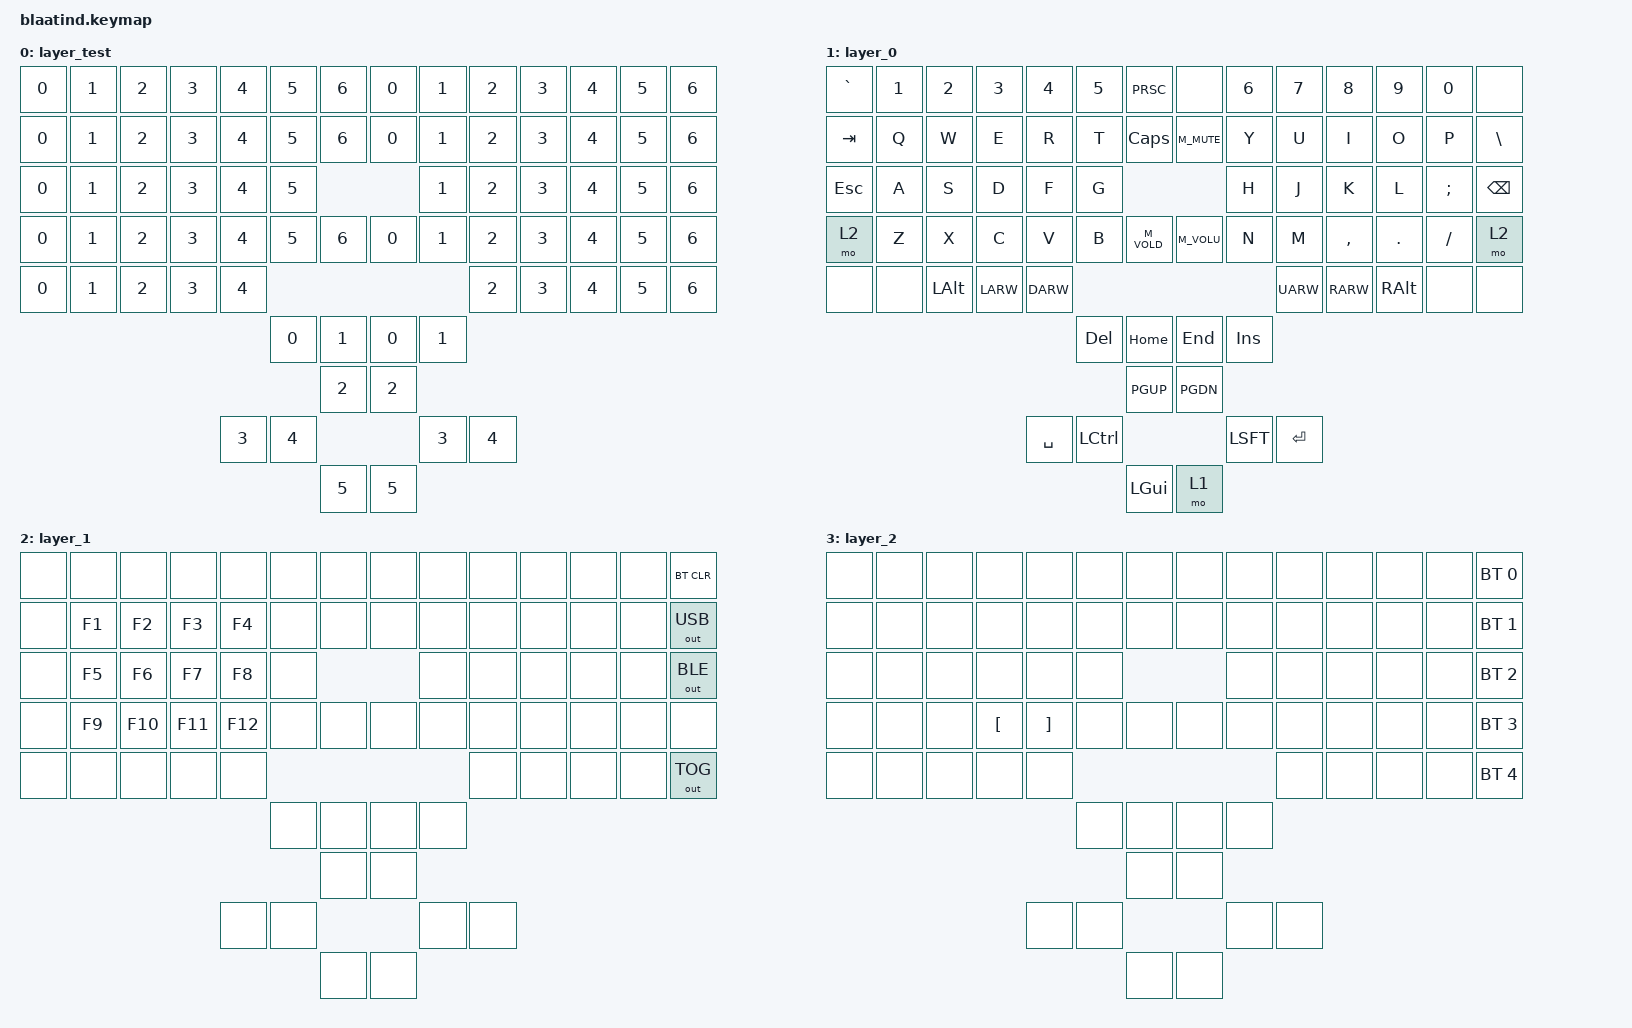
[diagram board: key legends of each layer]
#include <behaviors.dtsi>
#include <dt-bindings/zmk/bt.h>
#include <dt-bindings/zmk/keys.h>
#include <dt-bindings/zmk/outputs.h>

/ {
        keymap {
                compatible = "zmk,keymap";

                // This is the default test layer meant for testing that every
                // key on your keyboard works. Once you have completed this
                // basic test, you can delete this first section and layer_0
                // will become your default layer.
                layer_test {
                        bindings = <
    &kp NUM_0  &kp NUM_1  &kp NUM_2  &kp NUM_3  &kp NUM_4  &kp NUM_5  &kp NUM_6  &kp NUM_0  &kp NUM_1  &kp NUM_2  &kp NUM_3  &kp NUM_4  &kp NUM_5  &kp NUM_6
    &kp NUM_0  &kp NUM_1  &kp NUM_2  &kp NUM_3  &kp NUM_4  &kp NUM_5  &kp NUM_6  &kp NUM_0  &kp NUM_1  &kp NUM_2  &kp NUM_3  &kp NUM_4  &kp NUM_5  &kp NUM_6
    &kp NUM_0  &kp NUM_1  &kp NUM_2  &kp NUM_3  &kp NUM_4  &kp NUM_5                        &kp NUM_1  &kp NUM_2  &kp NUM_3  &kp NUM_4  &kp NUM_5  &kp NUM_6
    &kp NUM_0  &kp NUM_1  &kp NUM_2  &kp NUM_3  &kp NUM_4  &kp NUM_5  &kp NUM_6  &kp NUM_0  &kp NUM_1  &kp NUM_2  &kp NUM_3  &kp NUM_4  &kp NUM_5  &kp NUM_6
    &kp NUM_0  &kp NUM_1  &kp NUM_2  &kp NUM_3  &kp NUM_4                                              &kp NUM_2  &kp NUM_3  &kp NUM_4  &kp NUM_5  &kp NUM_6
                                                           &kp NUM_0  &kp NUM_1  &kp NUM_0  &kp NUM_1
                                                                      &kp NUM_2  &kp NUM_2
                                                &kp NUM_3  &kp NUM_4                        &kp NUM_3  &kp NUM_4
                                                                      &kp NUM_5  &kp NUM_5
                        >;
                };

                layer_0 {
                        bindings = <
    &kp GRAV   &kp NUM_1  &kp NUM_2  &kp NUM_3  &kp NUM_4  &kp NUM_5  &kp PRSC   &none      &kp NUM_6  &kp NUM_7  &kp NUM_8  &kp NUM_9  &kp NUM_0  &none
    &kp TAB    &kp Q      &kp W      &kp E      &kp R      &kp T      &kp CLCK   &kp M_MUTE &kp Y      &kp U      &kp I      &kp O      &kp P      &kp BSLH
    &kp ESC    &kp A      &kp S      &kp D      &kp F      &kp G                            &kp H      &kp J      &kp K      &kp L      &kp SCLN   &kp BKSP
    &mo 2      &kp Z      &kp X      &kp C      &kp V      &kp B      &kp M_VOLD &kp M_VOLU &kp N      &kp M      &kp CMMA   &kp DOT    &kp FSLH   &mo 2
    &none      &none      &kp LALT   &kp LARW   &kp DARW                                               &kp UARW   &kp RARW   &kp RALT   &none      &none
                                                           &kp DEL    &kp HOME   &kp END    &kp INS
                                                                      &kp PGUP   &kp PGDN
                                                &kp SPC    &kp LCTL                         &kp LSFT   &kp RET
                                                                      &kp LGUI   &mo 1
                        >;
                };

                layer_1 {
                        bindings = <
    &none      &none      &none      &none      &none      &none      &none      &none      &none      &none      &none      &none      &none      &bt BT_CLR
    &none      &kp F1     &kp F2     &kp F3     &kp F4     &none      &none      &none      &none      &none      &none      &none      &none      &out OUT_USB
    &none      &kp F5     &kp F6     &kp F7     &kp F8     &none                            &none      &none      &none      &none      &none      &out OUT_BLE
    &none      &kp F9     &kp F10    &kp F11    &kp F12    &none      &none      &none      &none      &none      &none      &none      &none      &none
    &none      &none      &none      &none      &none                                                  &none      &none      &none      &none      &out OUT_TOG
                                                           &none      &none      &none      &none
                                                                      &none      &none
                                                &none      &none                            &none      &none
                                                                      &none      &none
                        >;
                };

                layer_2 {
                        bindings = <
    &none      &none      &none      &none      &none      &none      &none      &none      &none      &none      &none      &none      &none      &bt BT_SEL 0
    &none      &none      &none      &none      &none      &none      &none      &none      &none      &none      &none      &none      &none      &bt BT_SEL 1
    &none      &none      &none      &none      &none      &none                            &none      &none      &none      &none      &none      &bt BT_SEL 2
    &none      &none      &none      &kp LBKT   &kp RBKT   &none      &none      &none      &none      &none      &none      &none      &none      &bt BT_SEL 3
    &none      &none      &none      &none      &none                                                  &none      &none      &none      &none      &bt BT_SEL 4
                                                           &none      &none      &none      &none
                                                                      &none      &none
                                                &none      &none                            &none      &none
                                                                      &none      &none
                        >;
                };

        };
};
